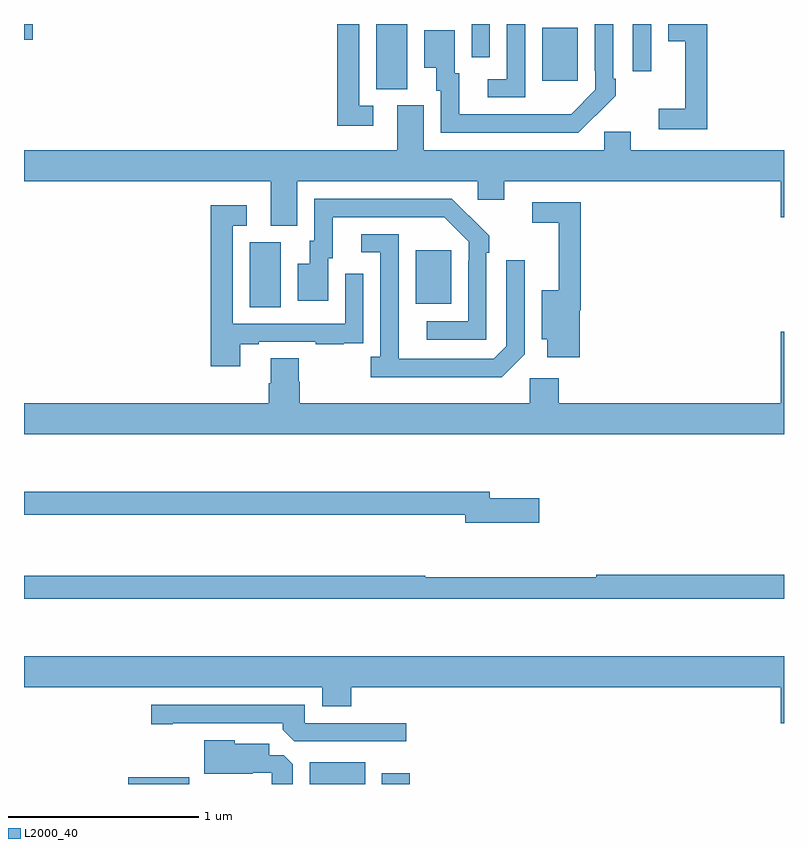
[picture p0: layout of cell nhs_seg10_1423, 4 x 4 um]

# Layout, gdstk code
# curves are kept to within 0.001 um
import gdstk
lib = gdstk.Library(unit=1e-6, precision=1e-09)
def R(c, l, rs):  # rectangles x0, y0, x1, y1
    for r in rs: c.add(gdstk.rectangle(r[:2], r[2:], *l))
def P(c, l, *ps):  # polygons
    for p in ps: c.add(gdstk.Polygon(p, *l))
L2000_40 = (2000, 40)

nhs_seg10_1423 = lib.new_cell('nhs_seg10_1423')
R(nhs_seg10_1423, L2000_40, [(185.549,1274.5,185.869,1274.536), (186.503,1274.5,186.796,1274.614), (186.884,1274.5,187.031,1274.557), (186.188,1277.008,186.352,1277.352), (187.061,1277.027,187.249,1277.308), (186.854,1278.157,187.018,1278.5), (187.727,1278.201,187.915,1278.481), (188.205,1278.252,188.301,1278.5), (187.356,1278.324,187.452,1278.5), (185,1278.416,185.047,1278.5)])
P(nhs_seg10_1423, L2000_40, [(188.597,1278.5),(188.39,1278.5),(188.39,1278.41),(188.48,1278.41),(188.48,1278.055),(188.34,1278.055),(188.34,1277.946),(188.597,1277.946)],
  [(187.638,1278.5),(187.542,1278.5),(187.542,1278.21),(187.44,1278.21),(187.44,1278.114),(187.638,1278.114)],
  [(186.838,1278.069),(186.765,1278.069),(186.765,1278.5),(186.649,1278.5),(186.649,1277.964),(186.838,1277.964)],
  [(188.009,1278.019),(188.01,1278.018),(188.115,1278.123),(188.115,1278.211),(188.1,1278.211),(188.1,1278.5),(188.004,1278.5),(188.004,1278.253),(188.007,1278.253),(188.007,1278.153),(187.879,1278.025),(187.291,1278.024),(187.291,1278.24),(187.267,1278.24),(187.267,1278.466),(187.106,1278.466),(187.106,1278.269),(187.169,1278.269),(187.169,1278.15),(187.194,1278.15),(187.194,1277.928),(187.918,1277.928)],
  [(186.439,1277.672),(187.389,1277.672),(187.389,1277.574),(187.528,1277.574),(187.528,1277.672),(188.984,1277.672),(188.984,1277.484),(189,1277.484),(189,1277.836),(188.194,1277.836),(188.194,1277.934),(188.055,1277.934),(188.055,1277.836),(187.105,1277.836),(187.105,1278.072),(186.965,1278.072),(186.965,1277.836),(185,1277.836),(185,1277.672),(186.299,1277.672),(186.299,1277.437),(186.439,1277.437)],
  [(187.434,1277.297),(187.449,1277.297),(187.449,1277.385),(187.252,1277.58),(186.528,1277.58),(186.528,1277.358),(186.503,1277.358),(186.503,1277.239),(186.44,1277.239),(186.44,1277.043),(186.601,1277.043),(186.601,1277.268),(186.625,1277.268),(186.625,1277.484),(187.213,1277.484),(187.341,1277.355),(187.341,1277.255),(187.338,1277.255),(187.338,1276.935),(187.119,1276.935),(187.119,1276.839),(187.434,1276.839)],
  [(187.925,1276.994),(187.931,1276.994),(187.931,1277.562),(187.674,1277.562),(187.674,1277.454),(187.814,1277.454),(187.814,1277.098),(187.724,1277.098),(187.724,1276.841),(187.754,1276.841),(187.754,1276.746),(187.925,1276.746)],
  [(186.139,1276.815),(186.235,1276.815),(186.235,1276.827),(186.535,1276.827),(186.535,1276.815),(186.683,1276.815),(186.683,1276.821),(186.785,1276.821),(186.785,1276.93),(186.786,1276.93),(186.786,1277.185),(186.69,1277.185),(186.69,1276.923),(186.099,1276.923),(186.099,1277.439),(186.172,1277.439),(186.172,1277.545),(185.983,1277.545),(185.983,1276.698),(186.139,1276.698)],
  [(187.635,1276.761),(187.635,1277.257),(187.539,1277.257),(187.539,1276.803),(187.473,1276.737),(186.972,1276.737),(186.972,1277.394),(186.774,1277.394),(186.774,1277.298),(186.876,1277.298),(186.876,1276.75),(186.825,1276.75),(186.825,1276.64),(187.514,1276.64)],
  [(189,1276.879),(188.984,1276.879),(188.984,1276.504),(187.814,1276.504),(187.814,1276.636),(187.662,1276.636),(187.662,1276.504),(186.452,1276.504),(186.452,1276.617),(186.447,1276.617),(186.447,1276.742),(186.299,1276.742),(186.299,1276.61),(186.287,1276.61),(186.287,1276.504),(185,1276.504),(185,1276.34),(189,1276.34)],
  [(187.711,1276.005),(187.45,1276.005),(187.45,1276.039),(185,1276.039),(185,1275.918),(187.322,1275.918),(187.322,1275.875),(187.711,1275.875)],
  [(189,1275.602),(188.012,1275.602),(188.012,1275.587),(187.112,1275.587),(187.112,1275.595),(185,1275.595),(185,1275.474),(189,1275.474)],
  [(189,1275.172),(185,1275.172),(185,1275.008),(186.569,1275.008),(186.569,1274.909),(186.722,1274.909),(186.722,1275.008),(188.984,1275.008),(188.984,1274.82),(189,1274.82)],
  [(187.012,1274.82),(186.477,1274.82),(186.477,1274.916),(185.67,1274.916),(185.67,1274.815),(185.782,1274.815),(185.782,1274.82),(186.362,1274.82),(186.362,1274.786),(186.423,1274.724),(187.012,1274.724)],
  [(186.415,1274.603),(186.366,1274.652),(186.292,1274.652),(186.292,1274.713),(186.108,1274.713),(186.108,1274.731),(185.948,1274.731),(185.948,1274.555),(186.203,1274.555),(186.203,1274.559),(186.303,1274.559),(186.303,1274.5),(186.415,1274.5)])

lib.write_gds('nhs_seg10_1423.gds')
